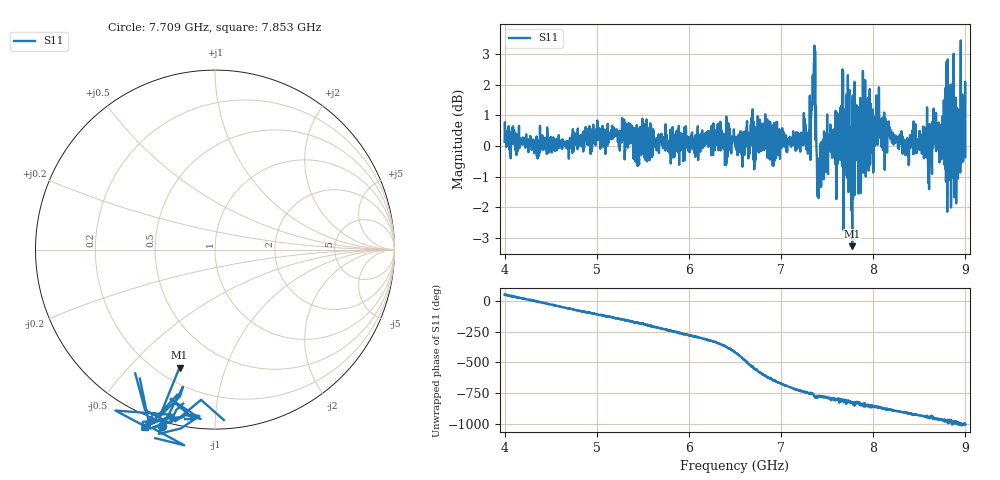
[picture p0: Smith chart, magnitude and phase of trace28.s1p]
! Created with skrf 1.8.0 (http://scikit-rf.org).
# Hz S RI R 50.0
!freq ReS11 ImS11
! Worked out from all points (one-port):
!   1601 points, 4 GHz to 9 GHz, reference 50 ohm
!   lowest |S11| = -3.3 dB at 7.772 GHz (marker M1), VSWR 5.37, Z = 14.2 - j35.2 ohm
!   |S11| at or under -10 dB: nowhere
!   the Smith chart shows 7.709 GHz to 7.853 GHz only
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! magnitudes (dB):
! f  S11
! 4 GHz  0.1
! 4.625 GHz  -0.1
! 5.25 GHz  -0.2
! 5.875 GHz  0.0
! 6.5 GHz  0.1
! 7.125 GHz  0.2
! 7.294 GHz  0.1
! 7.353 GHz  2.2
! 7.412 GHz  -0.8
! 7.512 GHz  0.0
! 7.591 GHz  1.1
! 7.647 GHz  0.2
! 7.75 GHz  -0.6
! 7.772 GHz  -3.3
! 7.788 GHz  0.0
! 7.8 GHz  -1.6
! 7.859 GHz  1.6
! 7.922 GHz  -0.4
! 8.375 GHz  -0.1
! 8.559 GHz  0.6
! 8.612 GHz  0.7
! 8.669 GHz  0.8
! 8.816 GHz  0.3
! 8.856 GHz  0.1
! 8.872 GHz  3.0
! 8.919 GHz  -1.1
! 8.972 GHz  0.7
! 9 GHz  -0.4
